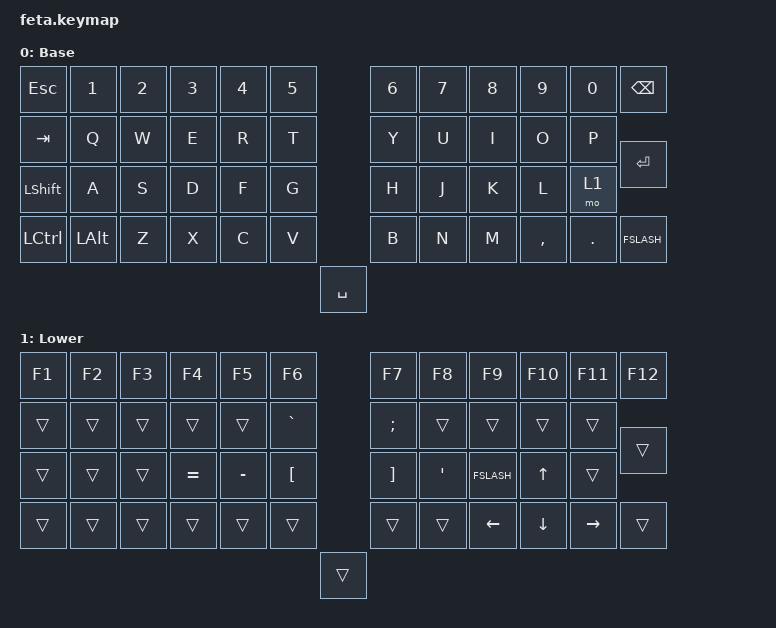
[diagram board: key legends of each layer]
#include <behaviors.dtsi>
#include <dt-bindings/zmk/keys.h>

/ {
    keymap {
        compatible = "zmk,keymap";

        default_layer {
            display-name = "Base";
            bindings = <
                &kp ESC    &kp N1   &kp N2 &kp N3 &kp N4 &kp N5 &kp N6 &kp N7 &kp N8 &kp N9    &kp N0  &kp BSPC
                &kp TAB    &kp Q    &kp W  &kp E  &kp R  &kp T  &kp Y  &kp U  &kp I  &kp O     &kp P   &kp ENTER
                &kp LSHIFT &kp A    &kp S  &kp D  &kp F  &kp G  &kp H  &kp J  &kp K  &kp L     &mo 1
                &kp LCTRL  &kp LALT &kp Z  &kp X  &kp C  &kp V  &kp B  &kp N  &kp M  &kp COMMA &kp DOT &kp FSLASH
                &kp SPACE
            >;
        };

        lower_layer
        {
            display-name = "Lower";
            bindings = <
                &kp F1 &kp F2 &kp F3 &kp F4    &kp F5    &kp F6    &kp F7   &kp F8   &kp F9     &kp F10   &kp F11   &kp F12
                &trans &trans &trans &trans    &trans    &kp GRAVE &kp SEMI &trans   &trans     &trans    &trans    &trans 
                &trans &trans &trans &kp EQUAL &kp MINUS &kp LBKT  &kp RBKT &kp APOS &kp FSLASH &kp UP    &trans 
                &trans &trans &trans &trans    &trans    &trans    &trans   &trans   &kp LEFT   &kp DOWN  &kp RIGHT &trans 
                &trans
            >;
        }
    };
};


//        |esc| 1!| 2@| 3#| 4$| 5%|   | 6^| 7&| 8*| 9(| 0)|bac|
//        |tab| q | w | e | r | t |   | y | u | i | o | p |ent|
//        |ift| a | s | d | f | g |   | h | j | k | l |MoL|-er|
//        |con|alt| z | x | c | v |   | b | n | m |,< |.> |/? |
//                            |   space   |



//                        lower layer (Mol)
//      |f1 |f2 |f3 |f4 |f5 |f6 |      |f7 |f8 |f9 |f10|f11|f12|
//      |   |   |   |   |   | `~|      | ;:|   |   |   |   |   |
//      |   |   |   | =+| -_| {[|      | ]}| '"| \|| ^ | X |   |
//      |   |   |   |   |   |   |      |   |   | < | v | > |   |
//                            |   space   |
